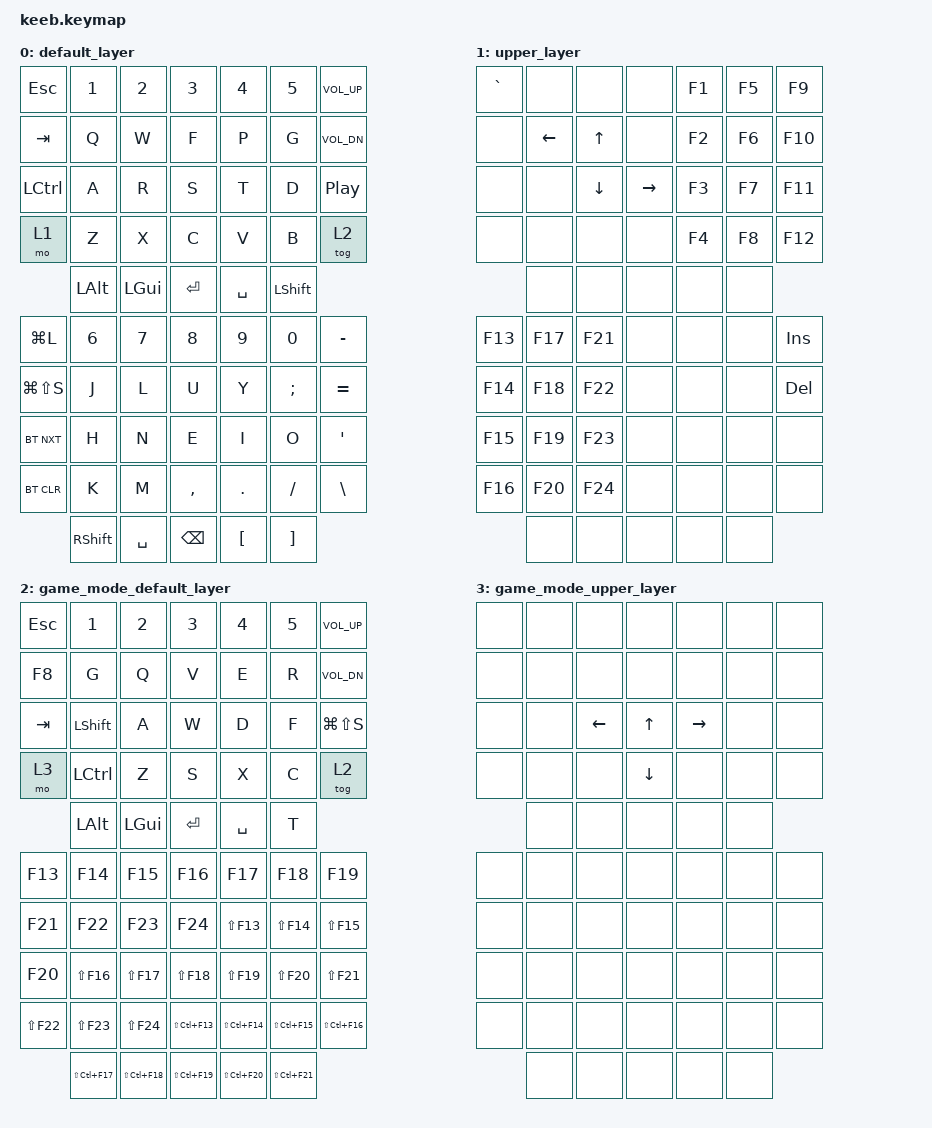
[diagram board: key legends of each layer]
#include <behaviors.dtsi>
#include <dt-bindings/zmk/keys.h>
#include <dt-bindings/zmk/bt.h>

#define default_layer 0
#define upper_layer 1
#define game_mode_default_layer 2
#define game_mode_upper_layer 3

/ {
        keymap {
                compatible = "zmk,keymap";
                default_layer {
                        bindings = <
   &kp ESC   &kp N1 &kp N2   &kp N3   &kp N4  &kp N5    &kp C_VOL_UP
   &kp TAB   &kp Q  &kp W    &kp F    &kp P   &kp G     &kp C_VOL_DN
   &kp LCTRL &kp A  &kp R    &kp S    &kp T   &kp D     &kp C_PLAY_PAUSE
   &mo 1     &kp Z  &kp X    &kp C    &kp V   &kp B     &tog 2
                    &kp LALT &kp LGUI &kp RET &kp SPACE &kp LSHFT
                                                                                &kp LG(L)     &kp N6    &kp N7   &kp N8    &kp N9    &kp N0   &kp MINUS
                                                                                &kp LG(LS(S)) &kp J     &kp L    &kp U     &kp Y     &kp SEMI &kp EQUAL
                                                                                &bt BT_NXT    &kp H     &kp N    &kp E     &kp I     &kp O    &kp APOS
                                                                                &bt BT_CLR    &kp K     &kp M    &kp COMMA &kp DOT   &kp FSLH &kp BSLH
                                                                                &kp RSHFT     &kp SPACE &kp BSPC &kp LBKT  &kp RBKT
                        >;        
                };
                upper_layer {
                        bindings = <
   &kp GRAVE &none    &none     &none     &kp F1 &kp F5 &kp F9
   &none     &kp LEFT &kp UP    &none     &kp F2 &kp F6 &kp F10
   &none     &none    &kp DOWN  &kp RIGHT &kp F3 &kp F7 &kp F11
   &none     &none    &none     &none     &kp F4 &kp F8 &kp F12
                      &none     &none     &none  &none  &none      
                                                                                &kp F13 &kp F17 &kp F21 &none &none &none &kp INS
                                                                                &kp F14 &kp F18 &kp F22 &none &none &none &kp DEL
                                                                                &kp F15 &kp F19 &kp F23 &none &none &none &none
                                                                                &kp F16 &kp F20 &kp F24 &none &none &none &none
                                                                                &none   &none   &none   &none &none
                        >;
                };
                game_mode_default_layer {
                        bindings = <
   &kp ESC        &kp NUMBER_1 &kp NUMBER_2    &kp NUMBER_3    &kp NUMBER_4   &kp NUMBER_5     &kp C_VOL_UP
   &kp F8  &kp G      &kp Q    &kp V    &kp E   &kp R     &kp C_VOL_DN
   &kp TAB     &kp LSHIFT &kp A    &kp W    &kp D   &kp F     &kp LG(LS(S))
   &mo 3         &kp LCTRL    &kp Z    &kp S    &kp X   &kp C     &tog 2
                 &kp LALT   &kp LGUI &kp RET &kp SPACE &kp T
                                                                &kp F13 &kp F14 &kp F15 &kp F16 &kp F17 &kp F18 &kp F19 
                                                                &kp F21 &kp F22 &kp F23 &kp F24 &kp LS(F13) &kp LS(F14) &kp LS(F15)
                                                                &kp F20 &kp LS(F16) &kp LS(F17) &kp LS(F18) &kp LS(F19) &kp LS(F20) &kp LS(F21)
                                                                &kp LS(F22) &kp LS(F23) &kp LS(F24) &kp LS(LC(F13)) &kp LS(LC(F14)) &kp LS(LC(F15)) &kp LS(LC(F16))
                                                                &kp LS(LC(F17)) &kp LS(LC(F18)) &kp LS(LC(F19)) &kp LS(LC(F20)) &kp LS(LC(F21))
                        >;
                };
                game_mode_upper_layer {
                        bindings = <
   &none &none &none     &none     &none &none &none
   &none &none &none    &none     &none &none &none
   &none &none &kp LEFT  &kp UP &kp RIGHT &none &none
   &none &none &none     &kp DOWN     &none &none &none
               &none    &none     &none &none &none      
                                                                &none &none &none &none &none &none &none
                                                                &none &none &none &none &none &none &none
                                                                &none &none &none &none &none &none &none
                                                                &none &none &none &none &none &none &none
                                                                &none &none &none &none &none
                        >;
                };
        };
};
